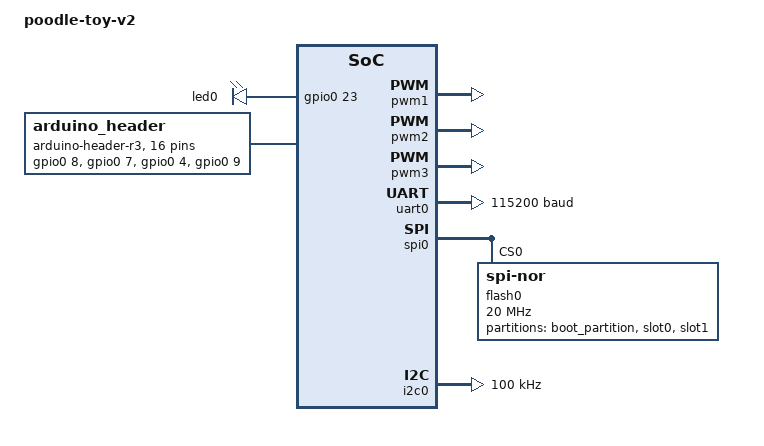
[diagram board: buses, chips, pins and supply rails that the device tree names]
#include <caninos/puppy_v1.dtsi>
#include <mem.h>

/ {
    model = "poodle-toy-v2";
    compatible = "caninos,poodle-toy-v2";

    chosen {
		mcuboot,ram-load-dev = &sram;
		zephyr,code-partition = &slot0_partition;
		zephyr,flash-controller = &spi0;
		zephyr,sram = &sram;
		zephyr,flash = &flash0;
		zephyr,console = &uart0;
        zephyr,shell-uart = &uart0;
    };

	aliases {
		led0 = &led0;
		mcuboot-led0 = &led0;
		eeprom-0 = &flash0;
	};

	leds {
		compatible = "gpio-leds";

		led0: led_0 {
			gpios = <&gpio0 23 GPIO_ACTIVE_HIGH>;
			label = "led0";
		};
	};

    arduino_header: connector {
        compatible = "arduino-header-r3";
        #gpio-cells = <2>;
        gpio-map-mask = <0xffffffff 0xffffffc0>;
        gpio-map-pass-thru = <0 0x3f>;
        gpio-map = /* A0 - A5 not connected */
            <6 0 &gpio0 8 0>,	/* D0, also TX */
            <7 0 &gpio0 7 0>,	/* D1, also RX */
            <8 0 &gpio0 4 0>,	/* D2 , also CS*/
            <9 0 &gpio0 9 0>,	/* D3 */
            <10 0 &gpio0 24 0>,	/* D4 */
            <11 0 &gpio0 10 0>,	/* D5 */
            <12 0 &gpio0 11 0>,	/* D6 */
            <13 0 &gpio0 12 0>,	/* D7 */
            <14 0 &gpio0 13 0>,	/* D8 */
            <15 0 &gpio0 14 0>,	/* D9 */
            <16 0 &gpio0 5 0>,	/* D10 */
            <17 0 &gpio0 0 0>,	/* D11, also MOSI */
            <18 0 &gpio0 1 0>,	/* D12, also MISO */
            <19 0 &gpio0 6 0>,	/* D13, also SCK */
            <20 0 &gpio0 26 0>,	/* D14, also SDA */
            <21 0 &gpio0 27 0>;	/* D15, also SCL */
    };
};

&gpio0 {
    status = "okay";
};

&pwm1 {
    status = "okay";
};

&pwm2 {
    status = "okay";
};

&pwm3 {
    status = "okay";
};


&uart0 {
    status = "okay";
    current-speed = <115200>;
    parity = "none";
};

&spi0 {
    status = "okay";

    flash0: flash@0 {
        compatible = "jedec,spi-nor";
        status = "okay";
        size = <DT_SIZE_M(8)>;
        reg = <0>;
        spi-max-frequency = <20000000>;
        erase-block-size = <DT_SIZE_K(4)>;
		write-block-size = <256>;

        partitions {
            compatible = "fixed-partitions";
            #size-cells = <1>;
            #address-cells = <1>;

            boot_partition: partition@0 {
                reg = <0 0x20000>;
                label = "boot_partition";
                read-only;
            };

            slot0_partition: partition@20000 {
                reg = <0x20000 0x40000>;
                label = "slot0";
            };

            slot1_partition: partition@60000 {
                reg = <0x60000 0x40000>;
                label = "slot1";
            };
        };
    };
};

&i2c0 {
    status = "okay";
    clock-frequency = <100000>;
};

